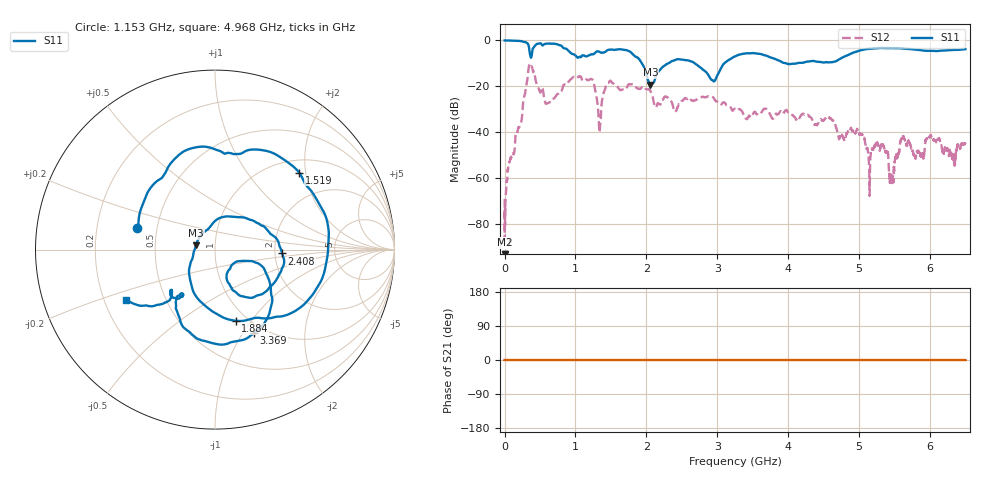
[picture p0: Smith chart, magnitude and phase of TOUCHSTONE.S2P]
!Keysight Technologies,E5063A,MY54503115,A.05.08
!Date: Wed Oct 18 19:26:28 2023
!Data & Calibration Information:
!Freq	S11:NONE(--)	S21:NONE(--)	S12:NONE(--)	S22:NONE(--)
# Hz S dB R 50
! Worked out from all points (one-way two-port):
!   10001 points, 300 kHz to 6.5 GHz, reference 50 ohm
!   highest |S21| = - dB at 300 kHz (marker M1); lowest = - dB at 300 kHz (marker M2)
!   lowest |S11| = -19.3 dB at 2.057 GHz (marker M3), VSWR 1.24, Z = 40.4 + j2.01 ohm
!   |S11| at or under -10 dB: 1.939 GHz to 2.308 GHz (369 MHz wide, 17.4 % of centre); 2.684 GHz to 3.099 GHz (415.8 MHz wide, 14.4 % of centre); 3.972 GHz to 4.12 GHz (148.1 MHz wide, 3.66 % of centre)
!   |S22| runs from - to - dB; largest |S21 - S12| = 0.31
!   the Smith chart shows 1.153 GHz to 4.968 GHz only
!   S11 on the Smith chart (normalised r, x): 1.153 GHz: 0.39, +0.12; 1.519 GHz: 1.28, +1.84; 1.884 GHz: 0.88, -0.84; 2.408 GHz: 2.19, -0.11; 3.369 GHz: 0.89, -1.12; 4.968 GHz: 0.29, -0.24
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300000  0.01 -0.5  -200.00 0.0  -69.19 57.4  -200.00 0.0
2.232397e8  -0.24 -73.1  -200.00 0.0  -36.52 49.9  -200.00 0.0
3.597334e8  -6.18 -130.3  -200.00 0.0  -10.94 -107.0  -200.00 0.0
5.839731e8  -1.40 170.2  -200.00 0.0  -27.70 2.7  -200.00 0.0
7.256665e8  -1.54 97.3  -200.00 0.0  -24.24 -109.5  -200.00 0.0
8.699599e8  -3.61 3.9  -200.00 0.0  -19.48 117.7  -200.00 0.0
1.0838e9  -6.92 -150.9  -200.00 0.0  -16.42 -74.0  -200.00 0.0
1.153347e9  -6.94 164.4  -200.00 0.0  -17.01 -114.5  -200.00 0.0
1.338588e9  -5.04 90.3  -200.00 0.0  -40.18 139.1  -200.00 0.0
1.51863e9  -3.94 42.4  -200.00 0.0  -18.51 51.6  -200.00 0.0
1.883913e9  -7.68 -73.8  -200.00 0.0  -20.95 -158.6  -200.00 0.0
2.056805e9  -19.31 166.9  -200.00 0.0  -21.99 83.8  -200.00 0.0
2.1673e9  -13.72 62.7  -200.00 0.0  -27.45 52.8  -200.00 0.0
2.408439e9  -8.53 -3.3  -200.00 0.0  -31.12 -61.5  -200.00 0.0
2.944664e9  -17.74 -47.3  -200.00 0.0  -24.89 0.0  -200.00 0.0
3.25015e9  -6.95 -46.3  -200.00 0.0  -29.80 -157.9  -200.00 0.0
3.369095e9  -5.78 -65.0  -200.00 0.0  -32.43 129.9  -200.00 0.0
4.33365e9  -8.98 -131.5  -200.00 0.0  -34.19 -32.5  -200.00 0.0
4.968021e9  -4.84 -150.4  -200.00 0.0  -38.85 -40.2  -200.00 0.0
5.41715e9  -3.32 165.4  -200.00 0.0  -53.36 20.7  -200.00 0.0
5.616041e9  -3.52 150.1  -200.00 0.0  -42.12 21.5  -200.00 0.0
6.5e9  -3.82 111.5  -200.00 0.0  -44.72 83.8  -200.00 0.0
